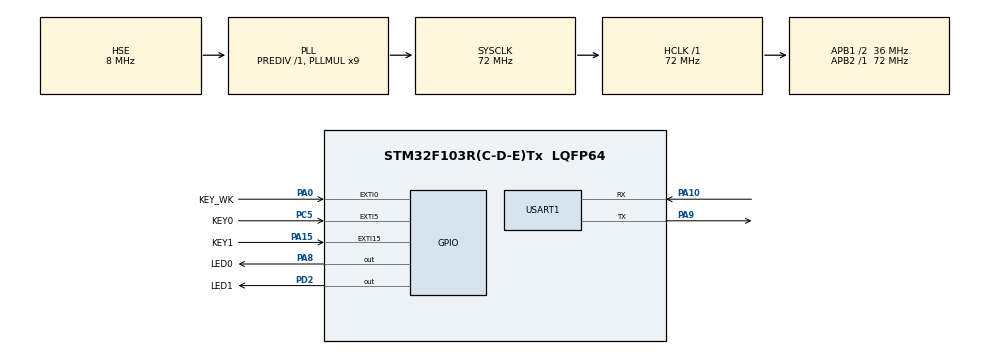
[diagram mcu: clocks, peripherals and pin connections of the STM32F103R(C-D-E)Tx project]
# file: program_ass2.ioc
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IWDG.Prescaler=IWDG_PRESCALER_64
IWDG.Reload=1875
Mcu.Family=STM32F1
Mcu.Name=STM32F103R(C-D-E)Tx
Mcu.Package=LQFP64
NVIC.EXTI0_IRQn=true\:1\:0\:true\:false\:true\:true\:true\:true
NVIC.EXTI15_10_IRQn=true\:1\:2\:true\:false\:true\:true\:true\:true
NVIC.EXTI9_5_IRQn=true\:1\:1\:true\:false\:true\:true\:true\:true
NVIC.PriorityGroup=NVIC_PRIORITYGROUP_2
NVIC.TIM3_IRQn=true\:1\:0\:true\:false\:true\:true\:true\:true
NVIC.USART1_IRQn=true\:1\:0\:true\:false\:true\:true\:true\:true
PA0-WKUP.GPIO_Label=KEY_WK
PA0-WKUP.GPIO_PuPd=GPIO_PULLDOWN
PA0-WKUP.Signal=GPXTI0
PA10.Mode=Asynchronous
PA10.Signal=USART1_RX
PA13.Mode=Serial_Wire
PA13.Signal=SYS_JTMS-SWDIO
PA14.Mode=Serial_Wire
PA14.Signal=SYS_JTCK-SWCLK
PA15.GPIO_Label=KEY1
PA15.GPIO_PuPd=GPIO_PULLUP
PA15.Signal=GPXTI15
PA8.GPIO_Label=LED0
PA8.Signal=GPIO_Output
PA9.Mode=Asynchronous
PA9.Signal=USART1_TX
PC5.GPIO_Label=KEY0
PC5.GPIO_PuPd=GPIO_PULLUP
PC5.Signal=GPXTI5
PD0-OSC_IN.Mode=HSE-External-Oscillator
PD0-OSC_IN.Signal=RCC_OSC_IN
PD1-OSC_OUT.Mode=HSE-External-Oscillator
PD1-OSC_OUT.Signal=RCC_OSC_OUT
PD2.GPIO_Label=LED1
PD2.Signal=GPIO_Output
ProjectManager.HeapSize=0x200
ProjectManager.StackSize=0x400
ProjectManager.TargetToolchain=STM32CubeIDE
RCC.AHBFreq_Value=72000000
RCC.APB1CLKDivider=RCC_HCLK_DIV2
RCC.APB1Freq_Value=36000000
RCC.APB1TimFreq_Value=72000000
RCC.APB2Freq_Value=72000000
RCC.APB2TimFreq_Value=72000000
RCC.HCLKFreq_Value=72000000
RCC.PLLMUL=RCC_PLL_MUL9
RCC.PLLSourceVirtual=RCC_PLLSOURCE_HSE
RCC.SYSCLKFreq_VALUE=72000000
RCC.SYSCLKSource=RCC_SYSCLKSOURCE_PLLCLK
RCC.USBFreq_Value=72000000
TIM3.Period=9999
TIM3.Prescaler=7199
USART1.VirtualMode=VM_ASYNC
VP_IWDG_VS_IWDG.Mode=IWDG_Activate
VP_TIM3_VS_ClockSourceINT.Mode=Internal
board=custom

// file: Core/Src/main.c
/* USER CODE BEGIN Header */
/**
  ******************************************************************************
  * @file           : main.c
  * @brief          : Main program body
  ******************************************************************************
  * @attention
  *
  * Copyright (c) 2023 STMicroelectronics.
  * All rights reserved.
  *
  * This software is licensed under terms that can be found in the LICENSE file
  * in the root directory of this software component.
  * If no LICENSE file comes with this software, it is provided AS-IS.
  *
  ******************************************************************************
  */
/* USER CODE END Header */
#include "main.h"
#include "iwdg.h"
#include "tim.h"
#include "usart.h"
#include "gpio.h"

/* USER CODE BEGIN Includes */
#include "stdlib.h"
#include "time.h"
#include "stdio.h"
#include "string.h"
/* USER CODE END Includes */

void SystemClock_Config(void);

/* USER CODE BEGIN 0 */
extern UART_HandleTypeDef huart1;
extern uint8_t rxBuffer[50];
extern TIM_HandleTypeDef htim3;
/* USER CODE END 0 */

int main(void)
{

  /* MCU Configuration--------------------------------------------------------*/

  /* Reset of all peripherals, Initializes the Flash interface and the Systick. */
  HAL_Init();

  /* USER CODE BEGIN Init */
  MX_GPIO_Init();
  MX_USART1_UART_Init();
  MX_IWDG_Init();
  MX_TIM3_Init();

  /* USER CODE END Init */

  /* Configure the system clock */
  SystemClock_Config();

  /* Initialize all configured peripherals */
  MX_GPIO_Init();
  MX_USART1_UART_Init();
  MX_IWDG_Init();
  MX_TIM3_Init();
  /* USER CODE BEGIN 2 */
  srand((unsigned)time(NULL));
  HAL_UART_Receive_IT(&huart1, (uint8_t *)rxBuffer, 1);
  HAL_UART_Transmit(&huart1, (uint8_t *)"Press KEY0 to start\r\n", 21, HAL_MAX_DELAY);
  /* USER CODE END 2 */

  /* Infinite loop */
  while (1)
  {

    /* USER CODE BEGIN 3 */
	HAL_IWDG_Refresh(&hiwdg);
  }
  /* USER CODE END 3 */
}

void SystemClock_Config(void)
{
  RCC_OscInitTypeDef RCC_OscInitStruct = {0};
  RCC_ClkInitTypeDef RCC_ClkInitStruct = {0};

  /** Initializes the RCC Oscillators according to the specified parameters
  * in the RCC_OscInitTypeDef structure.
  */
  RCC_OscInitStruct.OscillatorType = RCC_OSCILLATORTYPE_LSI|RCC_OSCILLATORTYPE_HSE;
  RCC_OscInitStruct.HSEState = RCC_HSE_ON;
  RCC_OscInitStruct.HSEPredivValue = RCC_HSE_PREDIV_DIV1;
  RCC_OscInitStruct.HSIState = RCC_HSI_ON;
  RCC_OscInitStruct.LSIState = RCC_LSI_ON;
  RCC_OscInitStruct.PLL.PLLState = RCC_PLL_ON;
  RCC_OscInitStruct.PLL.PLLSource = RCC_PLLSOURCE_HSE;
  RCC_OscInitStruct.PLL.PLLMUL = RCC_PLL_MUL9;
  if (HAL_RCC_OscConfig(&RCC_OscInitStruct) != HAL_OK)
  {
    Error_Handler();
  }

  /** Initializes the CPU, AHB and APB buses clocks
  */
  RCC_ClkInitStruct.ClockType = RCC_CLOCKTYPE_HCLK|RCC_CLOCKTYPE_SYSCLK
                              |RCC_CLOCKTYPE_PCLK1|RCC_CLOCKTYPE_PCLK2;
  RCC_ClkInitStruct.SYSCLKSource = RCC_SYSCLKSOURCE_PLLCLK;
  RCC_ClkInitStruct.AHBCLKDivider = RCC_SYSCLK_DIV1;
  RCC_ClkInitStruct.APB1CLKDivider = RCC_HCLK_DIV2;
  RCC_ClkInitStruct.APB2CLKDivider = RCC_HCLK_DIV1;

  if (HAL_RCC_ClockConfig(&RCC_ClkInitStruct, FLASH_LATENCY_2) != HAL_OK)
  {
    Error_Handler();
  }
}

void Error_Handler(void)
{
  __disable_irq();
  while (1)
  {
  }
}
